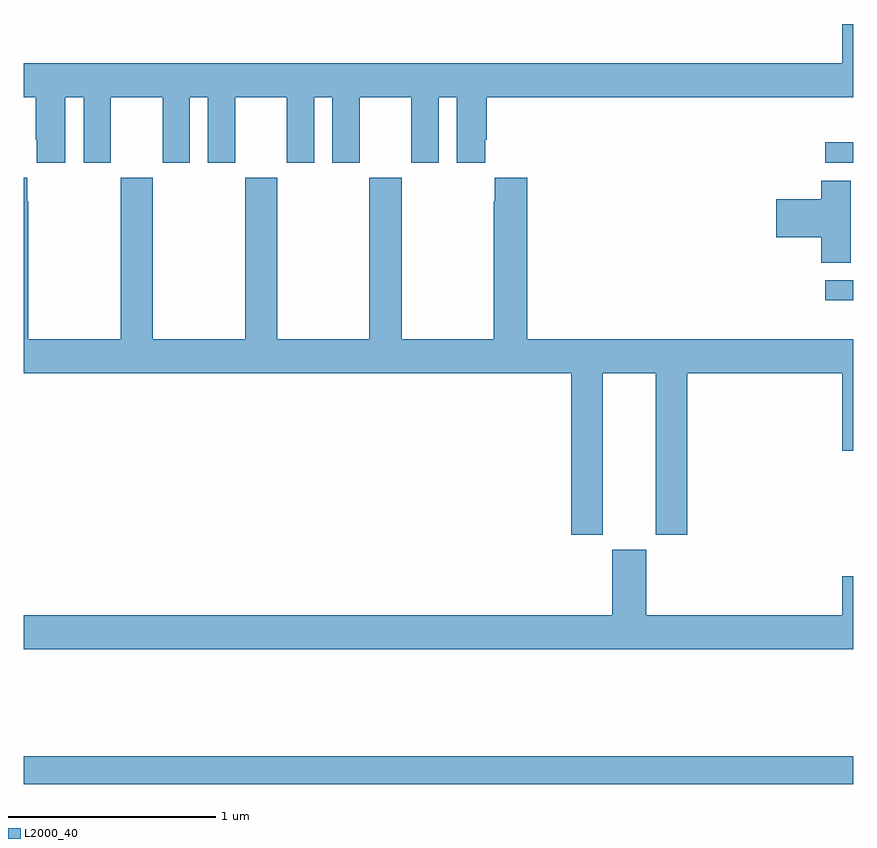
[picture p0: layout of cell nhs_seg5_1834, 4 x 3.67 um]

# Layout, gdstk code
import gdstk
lib = gdstk.Library(unit=1e-6, precision=1e-09)
def R(c, l, rs):  # rectangles x0, y0, x1, y1
    for r in rs: c.add(gdstk.rectangle(r[:2], r[2:], *l))
def P(c, l, *ps):  # polygons
    for p in ps: c.add(gdstk.Polygon(p, *l))
L2000_40 = (2000, 40)

nhs_seg5_1834 = lib.new_cell('nhs_seg5_1834')
R(nhs_seg5_1834, L2000_40, [(221,834.799,225,834.932), (224.865,837.132,225,837.228), (224.865,837.795,225,837.894)])
P(nhs_seg5_1834, L2000_40, [(221.2,838.112),(221.288,838.112),(221.288,837.795),(221.419,837.795),(221.419,838.112),(221.669,838.112),(221.669,837.795),(221.8,837.795),(221.8,838.112),(221.888,838.112),(221.888,837.795),(222.019,837.795),(222.019,838.112),(222.269,838.112),(222.269,837.795),(222.4,837.795),(222.4,838.112),(222.488,838.112),(222.488,837.795),(222.619,837.795),(222.619,838.112),(222.869,838.112),(222.869,837.795),(223,837.795),(223,838.112),(223.088,838.112),(223.088,837.795),(223.225,837.795),(223.225,837.907),(223.232,837.907),(223.232,838.112),(225,838.112),(225,838.465),(224.948,838.465),(224.948,838.276),(221,838.276),(221,838.112),(221.057,838.112),(221.057,837.907),(221.063,837.907),(221.063,837.795),(221.2,837.795)],
  [(223.792,836.78),(224.048,836.78),(224.048,836.001),(224.201,836.001),(224.201,836.78),(224.948,836.78),(224.948,836.406),(225,836.406),(225,836.944),(223.427,836.944),(223.427,837.724),(223.271,837.724),(223.271,837.611),(223.267,837.611),(223.267,836.944),(222.822,836.944),(222.822,837.724),(222.667,837.724),(222.667,836.944),(222.222,836.944),(222.222,837.724),(222.067,837.724),(222.067,836.944),(221.622,836.944),(221.622,837.724),(221.467,837.724),(221.467,836.944),(221.022,836.944),(221.022,837.611),(221.017,837.611),(221.017,837.724),(221,837.724),(221,836.78),(223.64,836.78),(223.64,836.001),(223.792,836.001)],
  [(224.989,837.71),(224.846,837.71),(224.846,837.62),(224.628,837.62),(224.628,837.437),(224.846,837.437),(224.846,837.313),(224.989,837.313)],
  [(225,835.801),(224.948,835.801),(224.948,835.612),(224.002,835.612),(224.002,835.929),(223.838,835.929),(223.838,835.612),(221,835.612),(221,835.448),(225,835.448)])

lib.write_gds('nhs_seg5_1834.gds')
